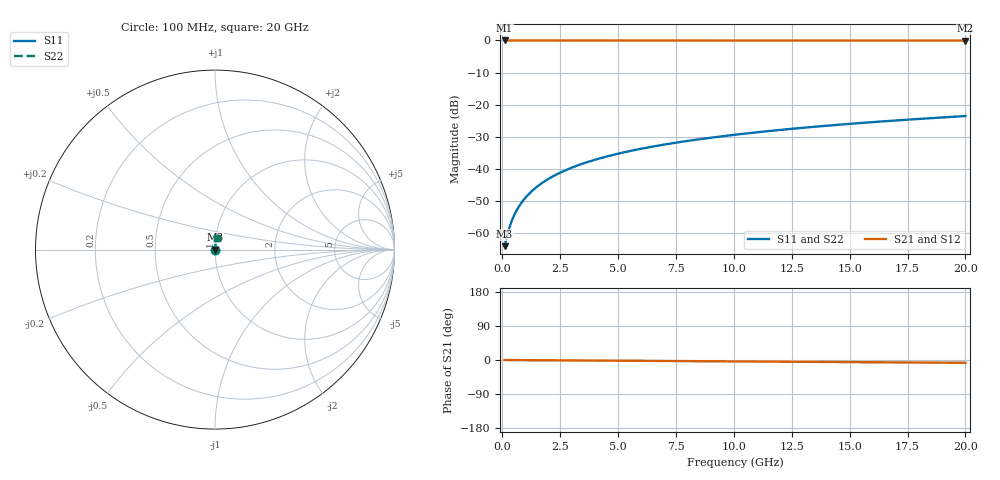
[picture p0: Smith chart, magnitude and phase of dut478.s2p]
! Touchstone file exported from HFSS 2026.1.0
!  File:  C:/ffzhzh/LocalFiles/Ansys_Project_Files/temp_train_TSV_478_1783022510_4048.aedt
!  Generated:  04:03:45 AM Jul  3, 2026
!  Design:  TSV
!  Project:  temp_train_TSV_478_1783022510_4048
! Variables:
!  h_bsmrdl = 2um
!  h_ox = 20um
!  h_rdl = 5um
!  h_sub = 60.39um
!  h_tmrdl = 5um
!  h_tsv = 60.39um
!  h_via = 3um
!  l_bsmrdl = 300um
!  l_sub = 407.58um
!  l_tmrdl = 200um
!  m_sub = 200um
!  pitch = 36.42um
!  r_tsv = 3.79um
!  s_tmrdl = 10um
!  w_bsmrdl = 18um
!  w_sub = 500um
!  w_tmrdl = 12um
!  x_tsv_center1 = 206um
!  x_tsv_center2 = 524um
!  x_tsv_center3 = 736um
!  x_tsv_center4 = 1054um
!  x_tsv_center5 = 1266um
!  x_tsv_center6 = 1584um
# GHz S MA R 50.000000
! Terminal data exported
! Port[1] = TSV1_1_T1
! Port[2] = TSV1_1_T2
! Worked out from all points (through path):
!   200 points, 100 MHz to 20 GHz, reference 50 ohm
!   highest |S21| = 0.00 dB at 100 MHz (marker M1); lowest = 0.0 dB at 20 GHz (marker M2)
!   group delay of S21, straight-line fit = 1.02 ps
!   lowest |S11| = -64.0 dB at 100 MHz (marker M3), VSWR 1.00, Z = 50.1 + j0.0366 ohm
!   |S11| at or under -10 dB: start of sweep to end of sweep
!   |S22| runs from -64.0 to -23.5 dB; largest |S21 - S12| = 2e-15
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0.1  0.0006308 35.4  0.9995 -0.0  0.9995 -0.0  0.0006308 35.4
! Gamma 0 0 0 0
! Port Impedance 50 0 50 0
0.2  0.0008956 54.1  0.9995 -0.1  0.9995 -0.1  0.0008956 54.1
0.3  0.001207 63.6  0.9995 -0.1  0.9995 -0.1  0.001207 63.6
0.4  0.001534 69.1  0.9995 -0.2  0.9995 -0.2  0.001534 69.1
0.5  0.001868 72.6  0.9994 -0.2  0.9994 -0.2  0.001868 72.6
0.6  0.002205 75.1  0.9994 -0.2  0.9994 -0.2  0.002205 75.1
0.8  0.002889 78.3  0.9994 -0.3  0.9994 -0.3  0.002889 78.3
1.1  0.003923 80.9  0.9994 -0.4  0.9994 -0.4  0.003923 80.9
1.5  0.00531 82.8  0.9994 -0.6  0.9994 -0.6  0.00531 82.8
1.8  0.006352 83.5  0.9993 -0.7  0.9993 -0.7  0.006352 83.5
2.1  0.007392 84.0  0.9993 -0.8  0.9993 -0.8  0.007392 84.0
2.7  0.009467 84.6  0.9992 -1.0  0.9992 -1.0  0.009467 84.6
3.5  0.01222 84.9  0.9991 -1.3  0.9991 -1.3  0.01222 84.9
4.2  0.01461 84.9  0.999 -1.6  0.999 -1.6  0.01461 84.9
5  0.01732 84.8  0.9989 -1.9  0.9989 -1.9  0.01732 84.8
5.9  0.02035 84.7  0.9987 -2.2  0.9987 -2.2  0.02035 84.7
6.8  0.02336 84.5  0.9985 -2.6  0.9985 -2.6  0.02336 84.5
8.3  0.02835 84.2  0.9982 -3.1  0.9982 -3.1  0.02835 84.2
10.1  0.0343 83.7  0.9979 -3.8  0.9979 -3.8  0.0343 83.7
13.4  0.04516 82.8  0.9972 -5.0  0.9972 -5.0  0.04516 82.8
16.7  0.05596 81.8  0.9965 -6.2  0.9965 -6.2  0.05596 81.8
20  0.06669 80.8  0.9956 -7.4  0.9956 -7.4  0.06669 80.8
